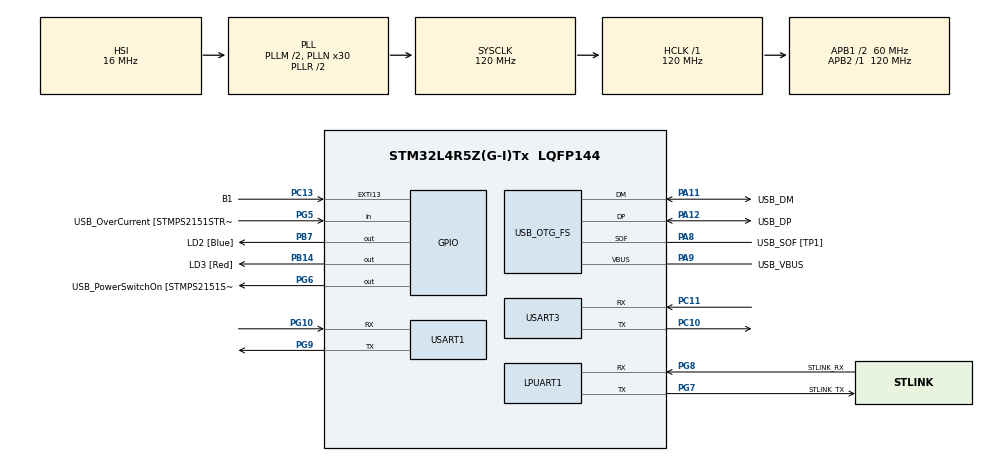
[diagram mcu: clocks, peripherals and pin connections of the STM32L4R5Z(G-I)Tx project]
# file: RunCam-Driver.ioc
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Mcu.Family=STM32L4
Mcu.Name=STM32L4R5Z(G-I)Tx
Mcu.Package=LQFP144
NVIC.PriorityGroup=NVIC_PRIORITYGROUP_4
PA10.GPIO_Label=USB_ID
PA10.Signal=USB_OTG_FS_ID
PA11.GPIO_Label=USB_DM
PA11.Mode=Device_Only
PA11.Signal=USB_OTG_FS_DM
PA12.GPIO_Label=USB_DP
PA12.Mode=Device_Only
PA12.Signal=USB_OTG_FS_DP
PA13\ (JTMS/SWDIO).GPIO_Label=TMS
PA13\ (JTMS/SWDIO).Mode=Serial_Wire
PA13\ (JTMS/SWDIO).Signal=SYS_JTMS-SWDIO
PA14\ (JTCK/SWCLK).GPIO_Label=TCK
PA14\ (JTCK/SWCLK).Mode=Serial_Wire
PA14\ (JTCK/SWCLK).Signal=SYS_JTCK-SWCLK
PA8.GPIO_Label=USB_SOF [TP1]
PA8.Mode=Activate_SOF_FS
PA8.Signal=USB_OTG_FS_SOF
PA9.GPIO_Label=USB_VBUS
PA9.Mode=Activate_VBUS
PA9.Signal=USB_OTG_FS_VBUS
PB14.GPIO_Label=LD3 [Red]
PB14.Signal=GPIO_Output
PB3\ (JTDO/TRACESWO).GPIO_Label=SWO
PB3\ (JTDO/TRACESWO).Signal=SYS_JTDO-SWO
PB7.GPIO_Label=LD2 [Blue]
PB7.Signal=GPIO_Output
PC10.Mode=Asynchronous
PC10.Signal=USART3_TX
PC11.Mode=Asynchronous
PC11.Signal=USART3_RX
PC13.GPIO_Label=B1
PC13.Signal=GPXTI13
PC14-OSC32_IN\ (PC14).Mode=LSE-External-Oscillator
PC14-OSC32_IN\ (PC14).Signal=RCC_OSC32_IN
PC15-OSC32_OUT\ (PC15).Mode=LSE-External-Oscillator
PC15-OSC32_OUT\ (PC15).Signal=RCC_OSC32_OUT
PG10.Mode=Asynchronous
PG10.Signal=USART1_RX
PG5.GPIO_Label=USB_OverCurrent [STMPS2151STR_FAULT]
PG5.Signal=GPIO_Input
PG6.GPIO_Label=USB_PowerSwitchOn [STMPS2151STR_EN]
PG6.Signal=GPIO_Output
PG7.GPIO_Label=STLINK_TX
PG7.Mode=Asynchronous
PG7.Signal=LPUART1_TX
PG8.GPIO_Label=STLINK_RX
PG8.Mode=Asynchronous
PG8.Signal=LPUART1_RX
PG9.Mode=Asynchronous
PG9.Signal=USART1_TX
PH0-OSC_IN\ (PH0).Signal=RCC_OSC_IN
PH1-OSC_OUT\ (PH1).Signal=RCC_OSC_OUT
ProjectManager.HeapSize=0x200
ProjectManager.StackSize=0x400
ProjectManager.TargetToolchain=STM32CubeIDE
RCC.48MHZClocksFreq_Value=24000000
RCC.ADCFreq_Value=96000000
RCC.AHBFreq_Value=120000000
RCC.APB1CLKDivider=RCC_HCLK_DIV2
RCC.APB1Freq_Value=60000000
RCC.APB1TimFreq_Value=120000000
RCC.APB2Freq_Value=120000000
RCC.APB2TimFreq_Value=120000000
RCC.CK48CLockSelection=RCC_USBCLKSOURCE_HSI48
RCC.CortexFreq_Value=120000000
RCC.HCLKFreq_Value=120000000
RCC.HSE_VALUE=8000000
RCC.HSI48_VALUE=48000000
RCC.HSI_VALUE=16000000
RCC.MSI_VALUE=4000000
RCC.PLLM1=2
RCC.PLLMUL=RCC_PLL_MUL9
RCC.PLLN=30
RCC.PLLSAI1N=12
RCC.PLLSourceVirtual=RCC_PLLSOURCE_HSI
RCC.PRESCALERUSB=RCC_USBCLKSOURCE_PLL_DIV1_5
RCC.SYSCLKFreq_VALUE=120000000
RCC.SYSCLKSource=RCC_SYSCLKSOURCE_PLLCLK
RCC.SYSCLKSourceVirtual=RCC_SYSCLKSOURCE_PLLCLK
RCC.USBFreq_Value=48000000
RCC.VCOOutputFreq_Value=240000000
USART1.VirtualMode-Asynchronous=VM_ASYNC
USART3.VirtualMode-Asynchronous=VM_ASYNC
USB_OTG_FS.VirtualMode=Device_Only
board=NUCLEO-L4R5ZI

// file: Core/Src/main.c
/* USER CODE BEGIN Header */
/**
  ******************************************************************************
  * @file           : main.c
  * @brief          : Main program body
  ******************************************************************************
  * @attention
  *
  * Copyright (c) 2025 STMicroelectronics.
  * All rights reserved.
  *
  * This software is licensed under terms that can be found in the LICENSE file
  * in the root directory of this software component.
  * If no LICENSE file comes with this software, it is provided AS-IS.
  *
  ******************************************************************************
  */
/* USER CODE END Header */
#include "main.h"
#include <stdio.h>
#include <stdarg.h>

UART_HandleTypeDef hlpuart1;
UART_HandleTypeDef huart1;
UART_HandleTypeDef huart3;

PCD_HandleTypeDef hpcd_USB_OTG_FS;

void SystemClock_Config(void);
static void MX_GPIO_Init(void);
static void MX_LPUART1_UART_Init(void);
static void MX_USART3_UART_Init(void);
static void MX_USB_OTG_FS_PCD_Init(void);
static void MX_USART1_UART_Init(void);

/* USER CODE BEGIN 0 */

void debug_printf(const char *fmt, ...) {
  char buffer[256];
  va_list args;
  va_start(args, fmt);
  vsnprintf(buffer, sizeof(buffer), fmt, args);
  va_end(args);

  uint16_t i = 0;
  while(buffer[i] != '\0') {
    ITM_SendChar(buffer[i]);
    i++;
  }

}

/* USER CODE END 0 */

int main(void)
{

  /* MCU Configuration--------------------------------------------------------*/

  /* Reset of all peripherals, Initializes the Flash interface and the Systick. */
  HAL_Init();

  /* Configure the system clock */
  SystemClock_Config();

  /* Initialize all configured peripherals */
  MX_GPIO_Init();
  MX_LPUART1_UART_Init();
  MX_USART3_UART_Init();
  MX_USB_OTG_FS_PCD_Init();
  MX_USART1_UART_Init();
  /* USER CODE BEGIN 2 */

  debug_printf("\nStarting RunCam Driver Test\n");

    // Initialize RunCam
    runcam_init(&huart1);
    if (runcam_status == RUNCAM_OK) {
  	  debug_printf("\nRunCam Initialized Successfully!\n");
    } else {
  	  debug_printf("\nRunCam Initialization Error:\n %s\n", runcam_status_to_string(runcam_status));
    }

    // Example usage: Read device information
    uint8_t device_info[5];
    runcam_get_device_info(device_info);
    if (runcam_status == RUNCAM_OK) {
  	  debug_printf("\nRunCam Device Info Retrieved Successfully\n");
    } else {
  	  debug_printf("\nFailed to retrieve device info, Error:\n %s\n", runcam_status_to_string(runcam_status));
    }

    // Example usage: Read all settings
    RunCam_Setting settings[NUM_RUNCAM_SETTINGS];
    runcam_get_all_settings(settings);
    if (runcam_status == RUNCAM_OK) {
        debug_printf("\n");
        for (uint8_t i = 0; i < NUM_RUNCAM_SETTINGS; i++) {
      	  debug_printf("%s: %s\n", settings[i].setting_id, settings[i].value);
        }
    } else {
  	  debug_printf("\nFailed to read settings, Error:\n %s\n", runcam_status_to_string(runcam_status));
    }

    // Example usage: Read a specific setting (e.g., resolution)
    uint8_t setting_response[10];
    runcam_get_setting(RUNCAM_SETTING_RESOLUTION, setting_response, 0);
    if (runcam_status == RUNCAM_OK) {
  	  debug_printf("\nResolution: %s\n", &setting_response[4]);
    } else {
  	  debug_printf("\nFailed to read resolution, Error:\n %s\n", runcam_status_to_string(runcam_status));
    }

    // Example usage: Change resolution setting (e.g., set to 1080P@60fps)
    uint8_t new_resolution[] = "1080P60";
    runcam_write_setting(RUNCAM_SETTING_RESOLUTION, new_resolution, strlen((char *)new_resolution));
    if (runcam_status == RUNCAM_OK) {
  	  debug_printf("\nResolution updated successfully\n");
    } else {
  	  debug_printf("\nFailed to update resolution, Error:\n %s\n", runcam_status_to_string(runcam_status));
    }

    // Example usage: Start recording
    runcam_start_recording();
    if (runcam_status == RUNCAM_OK) {
  	  debug_printf("\nRunCam started recording\n");
  	  HAL_GPIO_TogglePin(LD2_GPIO_Port, LD2_Pin);
    } else {
  	  debug_printf("\nFailed to start recording, Error:\n %s\n", runcam_status_to_string(runcam_status));
    }

    HAL_Delay(10000);  // Record for 10 seconds
    runcam_stop_recording();

  /* USER CODE END 2 */

  /* Infinite loop */
  while (1)
  {

  }
}

void SystemClock_Config(void)
{
  RCC_OscInitTypeDef RCC_OscInitStruct = {0};
  RCC_ClkInitTypeDef RCC_ClkInitStruct = {0};

  /** Configure the main internal regulator output voltage
  */
  if (HAL_PWREx_ControlVoltageScaling(PWR_REGULATOR_VOLTAGE_SCALE1_BOOST) != HAL_OK)
  {
    Error_Handler();
  }

  /** Initializes the RCC Oscillators according to the specified parameters
  * in the RCC_OscInitTypeDef structure.
  */
  RCC_OscInitStruct.OscillatorType = RCC_OSCILLATORTYPE_HSI48|RCC_OSCILLATORTYPE_HSI;
  RCC_OscInitStruct.HSIState = RCC_HSI_ON;
  RCC_OscInitStruct.HSI48State = RCC_HSI48_ON;
  RCC_OscInitStruct.HSICalibrationValue = RCC_HSICALIBRATION_DEFAULT;
  RCC_OscInitStruct.PLL.PLLState = RCC_PLL_ON;
  RCC_OscInitStruct.PLL.PLLSource = RCC_PLLSOURCE_HSI;
  RCC_OscInitStruct.PLL.PLLM = 2;
  RCC_OscInitStruct.PLL.PLLN = 30;
  RCC_OscInitStruct.PLL.PLLP = RCC_PLLP_DIV2;
  RCC_OscInitStruct.PLL.PLLQ = RCC_PLLQ_DIV2;
  RCC_OscInitStruct.PLL.PLLR = RCC_PLLR_DIV2;
  if (HAL_RCC_OscConfig(&RCC_OscInitStruct) != HAL_OK)
  {
    Error_Handler();
  }

  /** Initializes the CPU, AHB and APB buses clocks
  */
  RCC_ClkInitStruct.ClockType = RCC_CLOCKTYPE_HCLK|RCC_CLOCKTYPE_SYSCLK
                              |RCC_CLOCKTYPE_PCLK1|RCC_CLOCKTYPE_PCLK2;
  RCC_ClkInitStruct.SYSCLKSource = RCC_SYSCLKSOURCE_PLLCLK;
  RCC_ClkInitStruct.AHBCLKDivider = RCC_SYSCLK_DIV1;
  RCC_ClkInitStruct.APB1CLKDivider = RCC_HCLK_DIV2;
  RCC_ClkInitStruct.APB2CLKDivider = RCC_HCLK_DIV1;

  if (HAL_RCC_ClockConfig(&RCC_ClkInitStruct, FLASH_LATENCY_5) != HAL_OK)
  {
    Error_Handler();
  }
}

static void MX_LPUART1_UART_Init(void)
{

  hlpuart1.Instance = LPUART1;
  hlpuart1.Init.BaudRate = 209700;
  hlpuart1.Init.WordLength = UART_WORDLENGTH_7B;
  hlpuart1.Init.StopBits = UART_STOPBITS_1;
  hlpuart1.Init.Parity = UART_PARITY_NONE;
  hlpuart1.Init.Mode = UART_MODE_TX_RX;
  hlpuart1.Init.HwFlowCtl = UART_HWCONTROL_NONE;
  hlpuart1.Init.OneBitSampling = UART_ONE_BIT_SAMPLE_DISABLE;
  hlpuart1.Init.ClockPrescaler = UART_PRESCALER_DIV1;
  hlpuart1.AdvancedInit.AdvFeatureInit = UART_ADVFEATURE_NO_INIT;
  hlpuart1.FifoMode = UART_FIFOMODE_DISABLE;
  if (HAL_UART_Init(&hlpuart1) != HAL_OK)
  {
    Error_Handler();
  }
  if (HAL_UARTEx_SetTxFifoThreshold(&hlpuart1, UART_TXFIFO_THRESHOLD_1_8) != HAL_OK)
  {
    Error_Handler();
  }
  if (HAL_UARTEx_SetRxFifoThreshold(&hlpuart1, UART_RXFIFO_THRESHOLD_1_8) != HAL_OK)
  {
    Error_Handler();
  }
  if (HAL_UARTEx_DisableFifoMode(&hlpuart1) != HAL_OK)
  {
    Error_Handler();
  }

}

static void MX_USART1_UART_Init(void)
{

  huart1.Instance = USART1;
  huart1.Init.BaudRate = 115200;
  huart1.Init.WordLength = UART_WORDLENGTH_8B;
  huart1.Init.StopBits = UART_STOPBITS_1;
  huart1.Init.Parity = UART_PARITY_NONE;
  huart1.Init.Mode = UART_MODE_TX_RX;
  huart1.Init.HwFlowCtl = UART_HWCONTROL_NONE;
  huart1.Init.OverSampling = UART_OVERSAMPLING_16;
  huart1.Init.OneBitSampling = UART_ONE_BIT_SAMPLE_DISABLE;
  huart1.Init.ClockPrescaler = UART_PRESCALER_DIV1;
  huart1.AdvancedInit.AdvFeatureInit = UART_ADVFEATURE_NO_INIT;
  if (HAL_UART_Init(&huart1) != HAL_OK)
  {
    Error_Handler();
  }
  if (HAL_UARTEx_SetTxFifoThreshold(&huart1, UART_TXFIFO_THRESHOLD_1_8) != HAL_OK)
  {
    Error_Handler();
  }
  if (HAL_UARTEx_SetRxFifoThreshold(&huart1, UART_RXFIFO_THRESHOLD_1_8) != HAL_OK)
  {
    Error_Handler();
  }
  if (HAL_UARTEx_DisableFifoMode(&huart1) != HAL_OK)
  {
    Error_Handler();
  }

}

static void MX_USART3_UART_Init(void)
{

  huart3.Instance = USART3;
  huart3.Init.BaudRate = 115200;
  huart3.Init.WordLength = UART_WORDLENGTH_8B;
  huart3.Init.StopBits = UART_STOPBITS_1;
  huart3.Init.Parity = UART_PARITY_NONE;
  huart3.Init.Mode = UART_MODE_TX_RX;
  huart3.Init.HwFlowCtl = UART_HWCONTROL_NONE;
  huart3.Init.OverSampling = UART_OVERSAMPLING_16;
  huart3.Init.OneBitSampling = UART_ONE_BIT_SAMPLE_DISABLE;
  huart3.Init.ClockPrescaler = UART_PRESCALER_DIV1;
  huart3.AdvancedInit.AdvFeatureInit = UART_ADVFEATURE_NO_INIT;
  if (HAL_UART_Init(&huart3) != HAL_OK)
  {
    Error_Handler();
  }
  if (HAL_UARTEx_SetTxFifoThreshold(&huart3, UART_TXFIFO_THRESHOLD_1_8) != HAL_OK)
  {
    Error_Handler();
  }
  if (HAL_UARTEx_SetRxFifoThreshold(&huart3, UART_RXFIFO_THRESHOLD_1_8) != HAL_OK)
  {
    Error_Handler();
  }
  if (HAL_UARTEx_DisableFifoMode(&huart3) != HAL_OK)
  {
    Error_Handler();
  }

}

static void MX_USB_OTG_FS_PCD_Init(void)
{

  hpcd_USB_OTG_FS.Instance = USB_OTG_FS;
  hpcd_USB_OTG_FS.Init.dev_endpoints = 6;
  hpcd_USB_OTG_FS.Init.speed = PCD_SPEED_FULL;
  hpcd_USB_OTG_FS.Init.phy_itface = PCD_PHY_EMBEDDED;
  hpcd_USB_OTG_FS.Init.Sof_enable = ENABLE;
  hpcd_USB_OTG_FS.Init.low_power_enable = DISABLE;
  hpcd_USB_OTG_FS.Init.lpm_enable = DISABLE;
  hpcd_USB_OTG_FS.Init.battery_charging_enable = ENABLE;
  hpcd_USB_OTG_FS.Init.use_dedicated_ep1 = DISABLE;
  hpcd_USB_OTG_FS.Init.vbus_sensing_enable = ENABLE;
  if (HAL_PCD_Init(&hpcd_USB_OTG_FS) != HAL_OK)
  {
    Error_Handler();
  }

}

static void MX_GPIO_Init(void)
{
  GPIO_InitTypeDef GPIO_InitStruct = {0};

  /* GPIO Ports Clock Enable */
  __HAL_RCC_GPIOC_CLK_ENABLE();
  __HAL_RCC_GPIOH_CLK_ENABLE();
  __HAL_RCC_GPIOB_CLK_ENABLE();
  __HAL_RCC_GPIOG_CLK_ENABLE();
  HAL_PWREx_EnableVddIO2();
  __HAL_RCC_GPIOA_CLK_ENABLE();

  /*Configure GPIO pin Output Level */
  HAL_GPIO_WritePin(GPIOB, LD3_Pin|LD2_Pin, GPIO_PIN_RESET);

  /*Configure GPIO pin Output Level */
  HAL_GPIO_WritePin(USB_PowerSwitchOn_GPIO_Port, USB_PowerSwitchOn_Pin, GPIO_PIN_RESET);

  /*Configure GPIO pin : B1_Pin */
  GPIO_InitStruct.Pin = B1_Pin;
  GPIO_InitStruct.Mode = GPIO_MODE_IT_RISING;
  GPIO_InitStruct.Pull = GPIO_NOPULL;
  HAL_GPIO_Init(B1_GPIO_Port, &GPIO_InitStruct);

  /*Configure GPIO pins : LD3_Pin LD2_Pin */
  GPIO_InitStruct.Pin = LD3_Pin|LD2_Pin;
  GPIO_InitStruct.Mode = GPIO_MODE_OUTPUT_PP;
  GPIO_InitStruct.Pull = GPIO_NOPULL;
  GPIO_InitStruct.Speed = GPIO_SPEED_FREQ_LOW;
  HAL_GPIO_Init(GPIOB, &GPIO_InitStruct);

  /*Configure GPIO pin : USB_OverCurrent_Pin */
  GPIO_InitStruct.Pin = USB_OverCurrent_Pin;
  GPIO_InitStruct.Mode = GPIO_MODE_INPUT;
  GPIO_InitStruct.Pull = GPIO_NOPULL;
  HAL_GPIO_Init(USB_OverCurrent_GPIO_Port, &GPIO_InitStruct);

  /*Configure GPIO pin : USB_PowerSwitchOn_Pin */
  GPIO_InitStruct.Pin = USB_PowerSwitchOn_Pin;
  GPIO_InitStruct.Mode = GPIO_MODE_OUTPUT_PP;
  GPIO_InitStruct.Pull = GPIO_NOPULL;
  GPIO_InitStruct.Speed = GPIO_SPEED_FREQ_LOW;
  HAL_GPIO_Init(USB_PowerSwitchOn_GPIO_Port, &GPIO_InitStruct);

}

void Error_Handler(void)
{
  __disable_irq();
  while (1)
  {
  }
}
